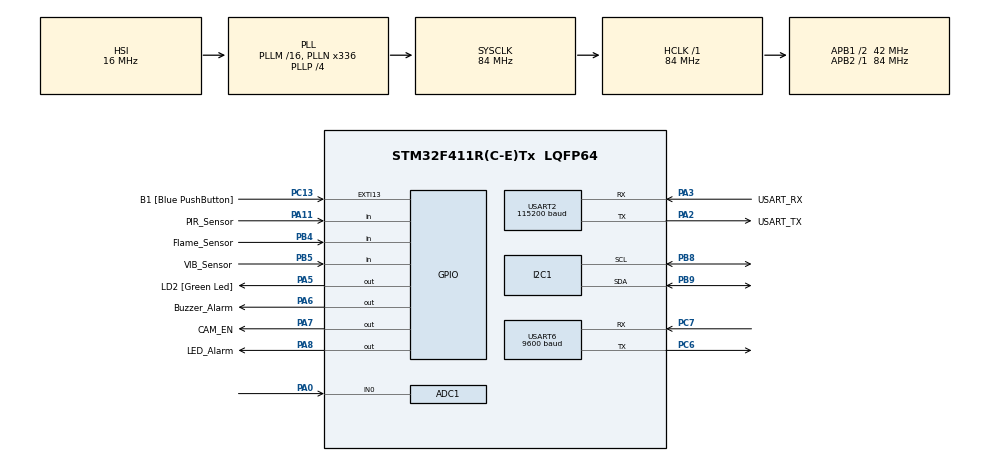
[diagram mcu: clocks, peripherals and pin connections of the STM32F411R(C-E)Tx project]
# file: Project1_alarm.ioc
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ADC1.Channel-0\#ChannelRegularConversion=ADC_CHANNEL_0
ADC1.NbrOfConversionFlag=1
ADC1.Rank-0\#ChannelRegularConversion=1
ADC1.SamplingTime-0\#ChannelRegularConversion=ADC_SAMPLETIME_3CYCLES
ADC1.master=1
FREERTOS.Queues01=lcdQueue,16,uint16_t,0,Dynamic,NULL,NULL
FREERTOS.Tasks01=BTTask,16,1024,BT_Task,Default,NULL,Dynamic,NULL,NULL;SensorTask,24,512,Sensor_Task,Default,NULL,Dynamic,NULL,NULL;LCDTask,8,512,LCD_Task,Default,NULL,Dynamic,NULL,NULL;PIRTask,16,256,PIR_Task,Default,NULL,Dynamic,NULL,NULL
Mcu.Family=STM32F4
Mcu.Name=STM32F411R(C-E)Tx
Mcu.Package=LQFP64
NVIC.PriorityGroup=NVIC_PRIORITYGROUP_4
NVIC.USART2_IRQn=true\:5\:0\:false\:false\:true\:true\:true\:true\:true
NVIC.USART6_IRQn=true\:5\:0\:false\:false\:true\:true\:true\:true\:true
PA0-WKUP.Signal=ADCx_IN0
PA11.GPIO_Label=PIR_Sensor
PA11.GPIO_PuPd=GPIO_PULLDOWN
PA11.Signal=GPIO_Input
PA13.GPIO_Label=TMS
PA13.Mode=Serial_Wire
PA13.Signal=SYS_JTMS-SWDIO
PA14.GPIO_Label=TCK
PA14.Mode=Serial_Wire
PA14.Signal=SYS_JTCK-SWCLK
PA2.GPIO_Label=USART_TX
PA2.Mode=Asynchronous
PA2.Signal=USART2_TX
PA3.GPIO_Label=USART_RX
PA3.Mode=Asynchronous
PA3.Signal=USART2_RX
PA5.GPIO_Label=LD2 [Green Led]
PA5.Signal=GPIO_Output
PA6.GPIO_Label=Buzzer_Alarm
PA6.Signal=GPIO_Output
PA7.GPIO_Label=CAM_EN
PA7.Signal=GPIO_Output
PA8.GPIO_Label=LED_Alarm
PA8.Signal=GPIO_Output
PB3.GPIO_Label=SWO
PB3.Signal=SYS_JTDO-SWO
PB4.GPIO_Label=Flame_Sensor
PB4.GPIO_PuPd=GPIO_PULLUP
PB4.Signal=GPIO_Input
PB5.GPIO_Label=VIB_Sensor
PB5.GPIO_PuPd=GPIO_PULLUP
PB5.Signal=GPIO_Input
PB8.Mode=I2C
PB8.Signal=I2C1_SCL
PB9.Mode=I2C
PB9.Signal=I2C1_SDA
PC13-ANTI_TAMP.GPIO_Label=B1 [Blue PushButton]
PC13-ANTI_TAMP.GPIO_ModeDefaultEXTI=GPIO_MODE_IT_FALLING
PC13-ANTI_TAMP.Signal=GPXTI13
PC14-OSC32_IN.Mode=LSE-External-Oscillator
PC14-OSC32_IN.Signal=RCC_OSC32_IN
PC15-OSC32_OUT.Mode=LSE-External-Oscillator
PC15-OSC32_OUT.Signal=RCC_OSC32_OUT
PC6.Mode=Asynchronous
PC6.Signal=USART6_TX
PC7.Mode=Asynchronous
PC7.Signal=USART6_RX
PH0\ -\ OSC_IN.Mode=HSE-External-Clock-Source
PH0\ -\ OSC_IN.Signal=RCC_OSC_IN
PH1\ -\ OSC_OUT.Mode=HSE-External-Clock-Source
PH1\ -\ OSC_OUT.Signal=RCC_OSC_OUT
ProjectManager.HeapSize=0x200
ProjectManager.StackSize=0x400
ProjectManager.TargetToolchain=STM32CubeIDE
RCC.48MHZClocksFreq_Value=84000000
RCC.AHBFreq_Value=84000000
RCC.APB1CLKDivider=RCC_HCLK_DIV2
RCC.APB1Freq_Value=42000000
RCC.APB1TimFreq_Value=84000000
RCC.APB2Freq_Value=84000000
RCC.APB2TimFreq_Value=84000000
RCC.CortexFreq_Value=84000000
RCC.FLatency-AdvancedSettings=FLASH_LATENCY_2
RCC.HCLKFreq_Value=84000000
RCC.HSE_VALUE=8000000
RCC.HSI_VALUE=16000000
RCC.PLLN=336
RCC.PLLP=RCC_PLLP_DIV4
RCC.SYSCLKFreq_VALUE=84000000
RCC.SYSCLKSource=RCC_SYSCLKSOURCE_PLLCLK
RCC.VCOOutputFreq_Value=336000000
SH.ADCx_IN0.0=ADC1_IN0,IN0
TIM3.Period=499
TIM3.Prescaler=83
USART2.BaudRate=115200
USART2.VirtualMode=VM_ASYNC
USART6.BaudRate=9600
USART6.VirtualMode=VM_ASYNC
VP_FREERTOS_VS_CMSIS_V2.Mode=CMSIS_V2
VP_TIM3_VS_ClockSourceINT.Mode=Internal
board=NUCLEO-F411RE

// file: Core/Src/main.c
/* USER CODE BEGIN Header */
/**
  ******************************************************************************
  * @file           : main.c
  * @brief          : Main program body
  ******************************************************************************
  * @attention
  *
  * Copyright (c) 2025 STMicroelectronics.
  * All rights reserved.
  *
  * This software is licensed under terms that can be found in the LICENSE file
  * in the root directory of this software component.
  * If no LICENSE file comes with this software, it is provided AS-IS.
  *
  ******************************************************************************
  */
/* USER CODE END Header */
#include "main.h"
#include "cmsis_os.h"
#include "adc.h"
#include "i2c.h"
#include "tim.h"
#include "usart.h"
#include "gpio.h"

/* USER CODE BEGIN Includes */
#include "app_common.h"
#include "Sensor_Task.h"
#include "LCD_Task.h"
#include "BT_Task.h"
/* USER CODE END Includes */

/* USER CODE BEGIN PD */
#ifdef __GNUC__
/* With GCC, small printf (option LD Linker->Libraries->Small printf
   set to 'Yes') calls __io_putchar() */
#define PUTCHAR_PROTOTYPE int __io_putchar(int ch)
#else
#define PUTCHAR_PROTOTYPE int fputc(int ch, FILE *f)
#endif /* __GNUC__ */
/* USER CODE END PD */

void SystemClock_Config(void);
void MX_FREERTOS_Init(void);

int main(void)
{

  /* MCU Configuration--------------------------------------------------------*/

  /* Reset of all peripherals, Initializes the Flash interface and the Systick. */
  HAL_Init();

  /* Configure the system clock */
  SystemClock_Config();

  /* Initialize all configured peripherals */
  MX_GPIO_Init();
  MX_USART2_UART_Init();
  MX_ADC1_Init();
  MX_I2C1_Init();
  MX_TIM3_Init();
  MX_USART6_UART_Init();
  /* USER CODE BEGIN 2 */
  HAL_UART_Transmit(&huart2, (uint8_t*)"Hello UART2\r\n", 13, HAL_MAX_DELAY);
  BT_UART6_StartIT();

  /* USER CODE END 2 */

  /* Init scheduler */
  osKernelInitialize();  /* Call init function for freertos objects (in cmsis_os2.c) */
  MX_FREERTOS_Init();

  /* Start scheduler */
  osKernelStart();

  /* We should never get here as control is now taken by the scheduler */

  /* Infinite loop */
  while (1)
  {

  }
}

void SystemClock_Config(void)
{
  RCC_OscInitTypeDef RCC_OscInitStruct = {0};
  RCC_ClkInitTypeDef RCC_ClkInitStruct = {0};

  /** Configure the main internal regulator output voltage
  */
  __HAL_RCC_PWR_CLK_ENABLE();
  __HAL_PWR_VOLTAGESCALING_CONFIG(PWR_REGULATOR_VOLTAGE_SCALE1);

  /** Initializes the RCC Oscillators according to the specified parameters
  * in the RCC_OscInitTypeDef structure.
  */
  RCC_OscInitStruct.OscillatorType = RCC_OSCILLATORTYPE_HSI;
  RCC_OscInitStruct.HSIState = RCC_HSI_ON;
  RCC_OscInitStruct.HSICalibrationValue = RCC_HSICALIBRATION_DEFAULT;
  RCC_OscInitStruct.PLL.PLLState = RCC_PLL_ON;
  RCC_OscInitStruct.PLL.PLLSource = RCC_PLLSOURCE_HSI;
  RCC_OscInitStruct.PLL.PLLM = 16;
  RCC_OscInitStruct.PLL.PLLN = 336;
  RCC_OscInitStruct.PLL.PLLP = RCC_PLLP_DIV4;
  RCC_OscInitStruct.PLL.PLLQ = 4;
  if (HAL_RCC_OscConfig(&RCC_OscInitStruct) != HAL_OK)
  {
    Error_Handler();
  }

  /** Initializes the CPU, AHB and APB buses clocks
  */
  RCC_ClkInitStruct.ClockType = RCC_CLOCKTYPE_HCLK|RCC_CLOCKTYPE_SYSCLK
                              |RCC_CLOCKTYPE_PCLK1|RCC_CLOCKTYPE_PCLK2;
  RCC_ClkInitStruct.SYSCLKSource = RCC_SYSCLKSOURCE_PLLCLK;
  RCC_ClkInitStruct.AHBCLKDivider = RCC_SYSCLK_DIV1;
  RCC_ClkInitStruct.APB1CLKDivider = RCC_HCLK_DIV2;
  RCC_ClkInitStruct.APB2CLKDivider = RCC_HCLK_DIV1;

  if (HAL_RCC_ClockConfig(&RCC_ClkInitStruct, FLASH_LATENCY_2) != HAL_OK)
  {
    Error_Handler();
  }
}

void Error_Handler(void)
{
  __disable_irq();
  while (1)
  {
  }
}

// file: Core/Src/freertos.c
/* USER CODE BEGIN Header */
/**
  ******************************************************************************
  * File Name          : freertos.c
  * Description        : Code for freertos applications
  ******************************************************************************
  * @attention
  *
  * Copyright (c) 2025 STMicroelectronics.
  * All rights reserved.
  *
  * This software is licensed under terms that can be found in the LICENSE file
  * in the root directory of this software component.
  * If no LICENSE file comes with this software, it is provided AS-IS.
  *
  ******************************************************************************
  */
/* USER CODE END Header */

#include "FreeRTOS.h"
#include "task.h"
#include "main.h"
#include "cmsis_os.h"

/* USER CODE BEGIN Includes */
#include "app_common.h"
/* USER CODE END Includes */

/* USER CODE BEGIN Variables */
osMessageQueueId_t g_lcdQueue;
/* USER CODE END Variables */
/* Definitions for BTTask */
osThreadId_t BTTaskHandle;
const osThreadAttr_t BTTask_attributes = {
  .name = "BTTask",
  .stack_size = 1024 * 4,
  .priority = (osPriority_t) osPriorityBelowNormal,
};
/* Definitions for SensorTask */
osThreadId_t SensorTaskHandle;
const osThreadAttr_t SensorTask_attributes = {
  .name = "SensorTask",
  .stack_size = 512 * 4,
  .priority = (osPriority_t) osPriorityNormal,
};
/* Definitions for LCDTask */
osThreadId_t LCDTaskHandle;
const osThreadAttr_t LCDTask_attributes = {
  .name = "LCDTask",
  .stack_size = 512 * 4,
  .priority = (osPriority_t) osPriorityLow,
};
/* Definitions for PIRTask */
osThreadId_t PIRTaskHandle;
const osThreadAttr_t PIRTask_attributes = {
  .name = "PIRTask",
  .stack_size = 256 * 4,
  .priority = (osPriority_t) osPriorityBelowNormal,
};
/* Definitions for lcdQueue */
osMessageQueueId_t lcdQueueHandle;
const osMessageQueueAttr_t lcdQueue_attributes = {
  .name = "lcdQueue"
};

void BT_Task(void *argument);
void Sensor_Task(void *argument);
void LCD_Task(void *argument);
void PIR_Task(void *argument);

void MX_FREERTOS_Init(void); /* (MISRA C 2004 rule 8.1) */

void MX_FREERTOS_Init(void) {
  /* USER CODE BEGIN Init */
  const osMessageQueueAttr_t qattr = { .name = "lcdQueue" };

  /* USER CODE END Init */

  /* Create the queue(s) */
  /* creation of lcdQueue */
  lcdQueueHandle = osMessageQueueNew (16, sizeof(uint16_t), &lcdQueue_attributes);

  /* USER CODE BEGIN RTOS_QUEUES */
  g_lcdQueue = osMessageQueueNew(16, sizeof(app_msg_t), &qattr);
  /* add queues, ... */
  /* USER CODE END RTOS_QUEUES */

  /* Create the thread(s) */
  /* creation of BTTask */
  BTTaskHandle = osThreadNew(BT_Task, NULL, &BTTask_attributes);

  /* creation of SensorTask */
  SensorTaskHandle = osThreadNew(Sensor_Task, NULL, &SensorTask_attributes);

  /* creation of LCDTask */
  LCDTaskHandle = osThreadNew(LCD_Task, NULL, &LCDTask_attributes);

  /* creation of PIRTask */
  PIRTaskHandle = osThreadNew(PIR_Task, NULL, &PIRTask_attributes);

}

void BT_Task(void *argument)
{
  for(;;)
  {
    osDelay(1);
  }
}

void Sensor_Task(void *argument)
{
  for(;;)
  {
    osDelay(1);
  }
}

void LCD_Task(void *argument)
{
  for(;;)
  {
    osDelay(1);
  }
}

void PIR_Task(void *argument)
{
  for(;;)
  {
    osDelay(1);
  }
}
